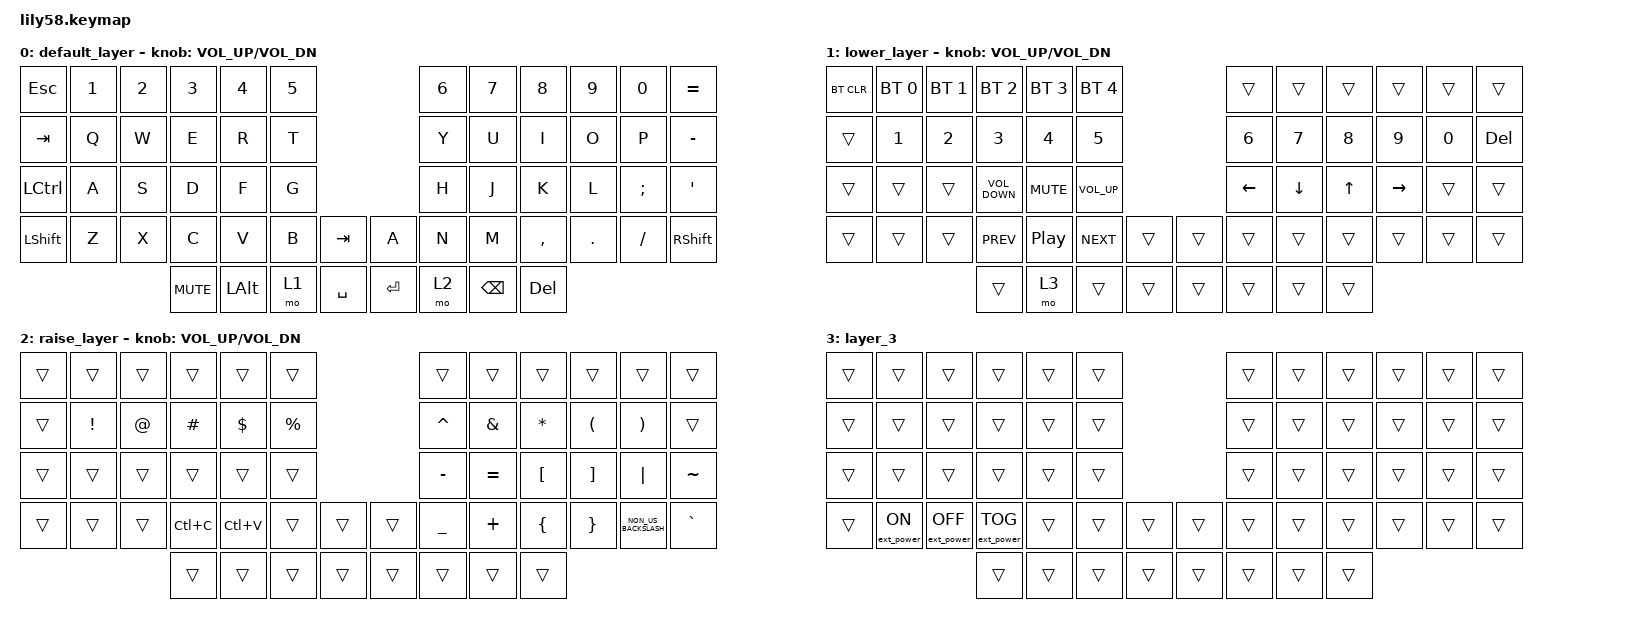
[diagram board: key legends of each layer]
/*
 * Copyright (c) 2020 The ZMK Contributors
 *
 * SPDX-License-Identifier: MIT
 */

#include <behaviors.dtsi>
#include <dt-bindings/zmk/bt.h>
#include <dt-bindings/zmk/ext_power.h>
#include <dt-bindings/zmk/keys.h>

/ {
    combos {
        compatible = "zmk,combos";

        combo_esc {
            timeout-ms = <50>;
            key-positions = <0 1>;
            bindings = <&kp ESC>;
        };
    };

    behaviors {
        ss_hs_modmorph: ss_hs_modmorph {
            compatible = "zmk,behavior-mod-morph";
            label = "SS_HS_MODMORPH";
            bindings = <&kp M>, <&kp RIGHT_BRACKET>;

            #binding-cells = <0>;
            mods = <(MOD_LSFT|MOD_RSFT)>;
        };

        kh_hs_tapdance: kh_hs_tapdance {
            compatible = "zmk,behavior-tap-dance";
            label = "KH_HS_TAPDANCE";
            #binding-cells = <0>;
            tapping-term-ms = <200>;
            bindings = <&kp LEFT_BRACKET>, <&kp RIGHT_BRACKET>;
        };

        hrm: hrm {
            compatible = "zmk,behavior-hold-tap";
            #binding-cells = <2>;
            flavor = "tap-preferred";
            tapping-term-ms = <200>;
            quick-tap-ms = <200>;
            require-prior-idle-ms = <125>;
            bindings = <&kp>, <&kp>;
        };
    };

    keymap {
        compatible = "zmk,keymap";

        default_layer {
            // ------------------------------------------------------------------------------------------------------------
            // |  ESC  |  1  |  2  |  3   |  4   |  5   |                   |  6   |  7    |  8    |  9   |   0   |   `   |
            // |  TAB  |  Q  |  W  |  E   |  R   |  T   |                   |  Y   |  U    |  I    |  O   |   P   |   -   |
            // |  CTRL |  A  |  S  |  D   |  F   |  G   |                   |  H   |  J    |  K    |  L   |   ;   |   '   |
            // | SHIFT |  Z  |  X  |  C   |  V   |  B   |   "["  |  |  "]"  |  N   |  M    |  ,    |  .   |   /   | SHIFT |
            //                     | ALT  | GUI  | LOWER|  SPACE |  | ENTER | RAISE| BSPC  | GUI   |

            bindings = <
&kp ESC    &kp N1  &kp N2  &kp N3      &kp N4        &kp N5                        &kp N6  &kp N7    &kp N8      &kp N9   &kp N0    &kp EQUAL
&kp TAB    &kp Q   &kp W   &kp E       &kp R         &kp T                         &kp Y   &kp U     &kp I       &kp O    &kp P     &kp MINUS
&kp LCTRL  &kp A   &kp S   &kp D       &kp F         &kp G                         &kp H   &kp J     &kp K       &kp L    &kp SEMI  &kp SQT
&kp LSHFT  &kp Z   &kp X   &kp C       &kp V         &kp B   &kp TAB      &kp A    &kp N   &kp M     &kp COMMA   &kp DOT  &kp FSLH  &kp RIGHT_SHIFT
                           &kp C_MUTE  &kp LEFT_ALT  &mo 1   &kp SPACE    &kp RET  &mo 2   &kp BSPC  &kp DELETE
            >;

            sensor-bindings = <&inc_dec_kp C_VOL_UP C_VOL_DN>;
        };

        lower_layer {
            // ------------------------------------------------------------------------------------------------------------
            // | BTCLR | BT1 | BT2 |  BT3 |  BT4 |  BT5 |                   |      |       |       |      |       |       |
            // |  F1   |  F2 |  F3 |  F4  |  F5  |  F6  |                   |  F7  |  F8   |  F9   |  F10 |  F11  |  F12  |
            // |   `   |  !  |  @  |  #   |  $   |  %   |                   |  ^   |  &    |  *    |  (   |   )   |   ~   |
            // |       |     |     |      |      |      |        |  |       |      |  _    |  +    |  {   |   }   |  "|"  |
            //                     |      |      |      |        |  |       |      |       |       |

            bindings = <
&bt BT_CLR  &bt BT_SEL 0  &bt BT_SEL 1  &bt BT_SEL 2       &bt BT_SEL 3      &bt BT_SEL 4                       &trans        &trans          &trans        &trans     &trans  &trans
&trans      &kp NUMBER_1  &kp NUMBER_2  &kp NUMBER_3       &kp NUMBER_4      &kp N5                             &kp NUMBER_6  &kp N7          &kp N8        &kp N9     &kp N0  &kp DELETE
&trans      &trans        &trans        &kp C_VOLUME_DOWN  &kp C_MUTE        &kp C_VOLUME_UP                    &kp LEFT      &kp DOWN_ARROW  &kp UP_ARROW  &kp RIGHT  &trans  &trans
&trans      &trans        &trans        &kp C_PREV         &kp C_PLAY_PAUSE  &kp C_NEXT       &trans    &trans  &trans        &trans          &trans        &trans     &trans  &trans
                                        &trans             &mo 3             &trans           &trans    &trans  &trans        &trans          &trans
            >;

            sensor-bindings = <&inc_dec_kp C_VOL_UP C_VOL_DN>;
        };

        raise_layer {
            // ------------------------------------------------------------------------------------------------------------
            // |       |     |     |      |      |      |                   |      |       |       |      |       |       |
            // |   `   |  1  |  2  |  3   |  4   |  5   |                   |  6   |   7   |   8   |  9   |   0   |       |
            // |   F1  |  F2 |  F3 |  F4  |  F5  |  F6  |                   |      |   <-  |   v   |  ^   |  ->   |       |
            // |   F7  |  F8 |  F9 |  F10 |  F11 |  F12 |        |  |       |  +   |   -   |   =   |  [   |   ]   |   \   |
            //                     |      |      |      |        |  |       |      |       |       |

            bindings = <
&trans  &trans           &trans       &trans     &trans      &trans                         &trans          &trans         &trans            &trans                &trans                 &trans
&trans  &kp EXCLAMATION  &kp AT_SIGN  &kp HASH   &kp DOLLAR  &kp PERCENT                    &kp CARET       &kp AMPERSAND  &kp ASTERISK      &kp LEFT_PARENTHESIS  &kp RIGHT_PARENTHESIS  &trans
&trans  &trans           &trans       &trans     &trans      &trans                         &kp MINUS       &kp EQUAL      &kp LEFT_BRACKET  &kp RIGHT_BRACKET     &kp PIPE               &kp TILDE
&trans  &trans           &trans       &kp LC(C)  &kp LC(V)   &trans       &trans    &trans  &kp UNDERSCORE  &kp PLUS       &kp LEFT_BRACE    &kp RIGHT_BRACE       &kp NON_US_BACKSLASH   &kp GRAVE
                                      &trans     &trans      &trans       &trans    &trans  &trans          &trans         &trans
            >;

            sensor-bindings = <&inc_dec_kp C_VOL_UP C_VOL_DN>;
        };

        layer_3 {
            bindings = <
&trans  &trans            &trans             &trans             &trans  &trans                    &trans  &trans  &trans  &trans  &trans  &trans
&trans  &trans            &trans             &trans             &trans  &trans                    &trans  &trans  &trans  &trans  &trans  &trans
&trans  &trans            &trans             &trans             &trans  &trans                    &trans  &trans  &trans  &trans  &trans  &trans
&trans  &ext_power EP_ON  &ext_power EP_OFF  &ext_power EP_TOG  &trans  &trans  &trans    &trans  &trans  &trans  &trans  &trans  &trans  &trans
                                             &trans             &trans  &trans  &trans    &trans  &trans  &trans  &trans
            >;
        };
    };
};
